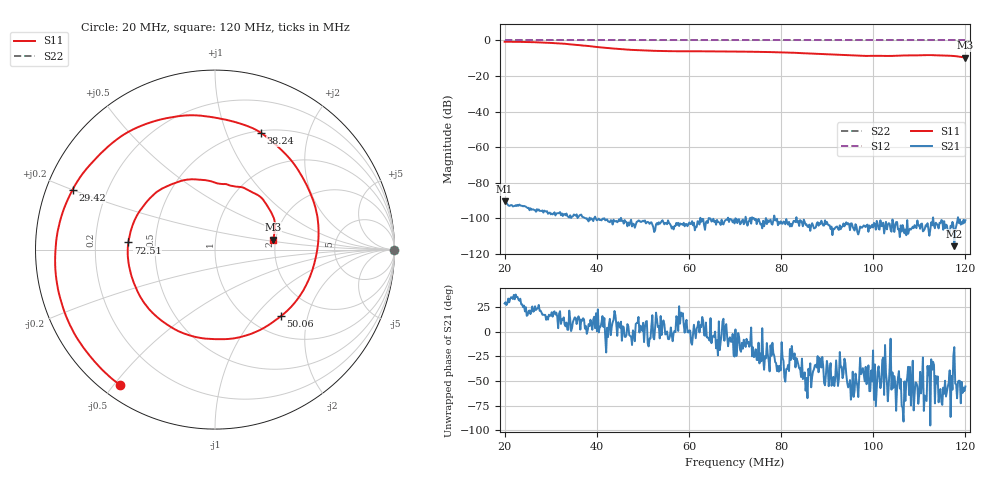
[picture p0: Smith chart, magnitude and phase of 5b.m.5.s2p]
! Anritsu VNA Master:  Model: MS2036C/10/77
! SN:  1601066
! /card0/usr/18may27.balun/5b.m5.s2p
! Existing Calibration Information:
! TYPE:  Current Settings,  Active Cal Settings
! TIME:  05/27/2018 04:14:37 PM,  05/27/2018 03:52:12 PM
! INTERNAL TEMP:  51.5 C,  52.5 C
! # POINTS:  500,  500
! START FREQ:  20.000 MHz,  20.000 MHz
! STOP FREQ:  120.000 MHz,  120.000 MHz
! SOURCE POWER:  High,  High
! IFBW:  50 Hz,  50 Hz
! AVG FACTOR:  1 ,  1
! REF PLANE 1:  0 mm,  0 mm
! REF PLANE 2:  0 mm,  0 mm
! CAL TYPE:  Full S11,  Full S11
! CAL METHOD:  SOLT,  SOLT
! CAL LINE TYPE:  Coax,  Coax
! DUT PORT 1:  K-Conn(M),  K-Conn(M)
! DUT PORT 2:  K-Conn(M),  K-Conn(M)
! CAL STATUS:  OK: Accuracy High,  --
# GHZ S DB R 50.0
! FREQ.GHZ  S11DB  S11A  S21DB  S21A  S12DB  S12A  S22DB  S22A
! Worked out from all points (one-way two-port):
!   500 points, 20 MHz to 120 MHz, reference 50 ohm
!   highest |S21| = -90.51 dB at 20 MHz (marker M1); lowest = -115.7 dB at 117.6 MHz (marker M2)
!   lowest |S11| = -9.7 dB at 120 MHz (marker M3), VSWR 1.98, Z = 96.9 + j12.2 ohm
!   |S11| at or under -10 dB: nowhere
!   |S22| runs from 0.0 to 0.0 dB; largest |S21 - S12| = 1
!   S11 on the Smith chart (normalised r, x): 20 MHz: 0.05, -0.52; 29.42 MHz: 0.08, +0.20; 38.24 MHz: 0.52, +1.33; 50.06 MHz: 1.35, -1.38; 72.51 MHz: 0.35, +0.04; 120 MHz: 1.94, +0.24
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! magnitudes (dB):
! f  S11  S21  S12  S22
! 20 MHz  -0.7  -90.5  0.0  0.0
! 25.41 MHz  -0.9  -95.4  0.0  0.0
! 29.42 MHz  -1.3  -97.5  0.0  0.0
! 32.83 MHz  -1.8  -97.6  0.0  0.0
! 36.83 MHz  -2.8  -99.1  0.0  0.0
! 38.24 MHz  -3.1  -101.7  0.0  0.0
! 41.24 MHz  -4.0  -100.2  0.0  0.0
! 45.25 MHz  -4.9  -99.7  0.0  0.0
! 50.06 MHz  -5.6  -101.3  0.0  0.0
! 53.47 MHz  -5.9  -102.2  0.0  0.0
! 55.87 MHz  -6.0  -103.1  0.0  0.0
! 70.1 MHz  -6.2  -100.0  0.0  0.0
! 72.51 MHz  -6.3  -101.6  0.0  0.0
! 81.72 MHz  -6.8  -102.0  0.0  0.0
! 86.73 MHz  -7.4  -102.8  0.0  0.0
! 97.35 MHz  -8.7  -105.1  0.0  0.0
! 103.4 MHz  -8.7  -102.8  0.0  0.0
! 106.6 MHz  -8.4  -105.6  0.0  0.0
! 112 MHz  -8.2  -106.2  0.0  0.0
! 116.4 MHz  -8.6  -106.5  0.0  0.0
! 117.6 MHz  -8.8  -115.7  0.0  0.0
! 120 MHz  -9.7  -101.1  0.0  0.0
